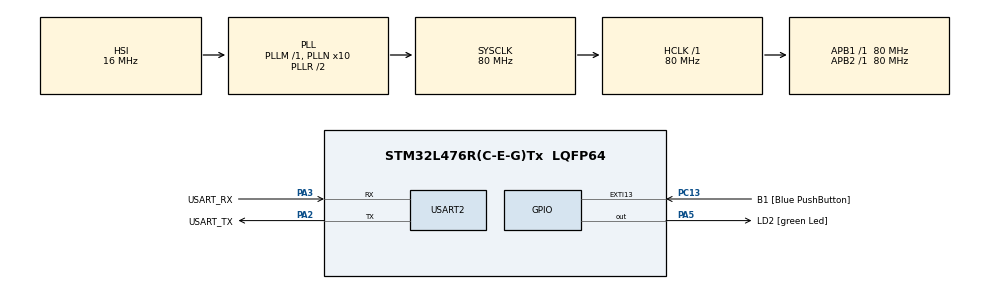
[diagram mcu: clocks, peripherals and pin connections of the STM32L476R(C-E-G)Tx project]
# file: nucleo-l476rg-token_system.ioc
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Mcu.Family=STM32L4
Mcu.Name=STM32L476R(C-E-G)Tx
Mcu.Package=LQFP64
NVIC.PriorityGroup=NVIC_PRIORITYGROUP_4
NVIC.USART2_IRQn=true\:0\:0\:false\:false\:true\:true\:true
PA13\ (JTMS-SWDIO).GPIO_Label=TMS
PA13\ (JTMS-SWDIO).Mode=Serial_Wire
PA13\ (JTMS-SWDIO).Signal=SYS_JTMS-SWDIO
PA14\ (JTCK-SWCLK).GPIO_Label=TCK
PA14\ (JTCK-SWCLK).Mode=Serial_Wire
PA14\ (JTCK-SWCLK).Signal=SYS_JTCK-SWCLK
PA2.GPIO_Label=USART_TX
PA2.GPIO_Mode=GPIO_MODE_AF_PP
PA2.GPIO_PuPd=GPIO_NOPULL
PA2.GPIO_Speed=GPIO_SPEED_FREQ_VERY_HIGH
PA2.Mode=Asynchronous
PA2.Signal=USART2_TX
PA3.GPIO_Label=USART_RX
PA3.GPIO_Mode=GPIO_MODE_AF_PP
PA3.GPIO_PuPd=GPIO_NOPULL
PA3.GPIO_Speed=GPIO_SPEED_FREQ_VERY_HIGH
PA3.Mode=Asynchronous
PA3.Signal=USART2_RX
PA5.GPIO_Label=LD2 [green Led]
PA5.GPIO_ModeDefaultOutputPP=GPIO_MODE_OUTPUT_PP
PA5.GPIO_PuPd=GPIO_NOPULL
PA5.GPIO_Speed=GPIO_SPEED_FREQ_LOW
PA5.Signal=GPIO_Output
PB3\ (JTDO-TRACESWO).GPIO_Label=SWO
PB3\ (JTDO-TRACESWO).Signal=SYS_JTDO-SWO
PC13.GPIO_Label=B1 [Blue PushButton]
PC13.GPIO_ModeDefaultEXTI=GPIO_MODE_IT_FALLING
PC13.GPIO_PuPd=GPIO_NOPULL
PC13.Signal=GPXTI13
PC14-OSC32_IN\ (PC14).Mode=LSE-External-Oscillator
PC14-OSC32_IN\ (PC14).Signal=RCC_OSC32_IN
PC15-OSC32_OUT\ (PC15).Mode=LSE-External-Oscillator
PC15-OSC32_OUT\ (PC15).Signal=RCC_OSC32_OUT
PH0-OSC_IN\ (PH0).Signal=RCC_OSC_IN
PH1-OSC_OUT\ (PH1).Signal=RCC_OSC_OUT
ProjectManager.HeapSize=0x200
ProjectManager.StackSize=0x400
ProjectManager.TargetToolchain=STM32CubeIDE
RCC.ADCFreq_Value=64000000
RCC.AHBFreq_Value=80000000
RCC.APB1Freq_Value=80000000
RCC.APB1TimFreq_Value=80000000
RCC.APB2Freq_Value=80000000
RCC.APB2TimFreq_Value=80000000
RCC.CortexFreq_Value=80000000
RCC.HCLKFreq_Value=80000000
RCC.HSE_VALUE=8000000
RCC.HSI_VALUE=16000000
RCC.MSI_VALUE=4000000
RCC.PLLN=10
RCC.PLLSourceVirtual=RCC_PLLSOURCE_HSI
RCC.PREFETCH_ENABLE=1
RCC.SYSCLKFreq_VALUE=80000000
RCC.SYSCLKSource=RCC_SYSCLKSOURCE_PLLCLK
RCC.USBFreq_Value=64000000
RCC.VCOOutputFreq_Value=160000000
USART2.VirtualMode-Asynchronous=VM_ASYNC
board=NUCLEO-L476RG

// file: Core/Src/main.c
/* USER CODE BEGIN Header */
/**
  ******************************************************************************
  * @file           : main.c
  * @brief          : Main program body
  ******************************************************************************
  * @attention
  *
  * <h2><center>&copy; Copyright (c) 2021 STMicroelectronics.
  * All rights reserved.</center></h2>
  *
  * This software component is licensed by ST under BSD 3-Clause license,
  * the "License"; You may not use this file except in compliance with the
  * License. You may obtain a copy of the License at:
  *                        opensource.org/licenses/BSD-3-Clause
  *
  ******************************************************************************
  */
/* USER CODE END Header */
#include "main.h"

/* USER CODE BEGIN Includes */
#include <string.h>
#include <stdio.h>
#include <stdbool.h>
/* USER CODE END Includes */

UART_HandleTypeDef huart2;

void SystemClock_Config(void);
static void MX_GPIO_Init(void);
static void MX_USART2_UART_Init(void);

/* USER CODE BEGIN 0 */
char safe_buff[30] = {0}; //Global variable that holds the completed command that was typed into the PuTTy terminal.
uint8_t rx_buff[100] = {0}; //Global variable that holds the command as it's being entered.
uint8_t rx_char[1] = {0}; //Global variable. Passed in the calling of the hal-uart-interrupt-function.
int rx_complete = 0; //Global variable that represents whether the command has been completed or not.
int rx_count = 0; //Integer variable. Only used in Nolan's function, so should be local?
/* USER CODE END 0 */

int main(void)
{
  /* USER CODE BEGIN 1 */
  char main_message_buffer[50] = {0}; //Reusable buffer to store messages to be printed to usart.
  //char commandTokenOne[5] = {0};
  //char commandTokenTwo[5] = {0};
  //char commandTokenThree[5] = {0};
  char commandArray[3][5]; //Holds the parsed command.
  char translatedCommandArray[30] = {0};
  /* USER CODE END 1 */

  /* MCU Configuration--------------------------------------------------------*/

  /* Reset of all peripherals, Initializes the Flash interface and the Systick. */
  HAL_Init();

  /* Configure the system clock */
  SystemClock_Config();

  /* Initialize all configured peripherals */
  MX_GPIO_Init();
  MX_USART2_UART_Init();
  /* USER CODE BEGIN 2 */
  snprintf((char*)main_message_buffer,sizeof(main_message_buffer),"\r\nGround node ready for use. You may begin typing commands.\r\n");
  HAL_UART_Transmit(&huart2, (uint8_t*)main_message_buffer, strlen(main_message_buffer), 200);

  /*
   * This is the initialization of PuTTy receiving a character. It tells PuTTy, "hey,..
   * receive the next character I'm about to type."
   */
  HAL_UART_Receive_IT(&huart2, rx_char, 1); //Start listening for interrupts.
  /* USER CODE END 2 */

  /* Infinite loop */
  /* USER CODE BEGIN WHILE */
  while (1)
  {
    if (rx_complete == 1) {

      //Notify the user that a command has been completed.
      snprintf((char*)main_message_buffer,sizeof(main_message_buffer),"\r\nA command has been completed.\r\n");
      HAL_UART_Transmit(&huart2, (uint8_t*)main_message_buffer, strlen(main_message_buffer), 200);

      //Display the complete command.
      snprintf((char*)main_message_buffer,sizeof(main_message_buffer),"Command: %s\r\n", safe_buff);
      HAL_UART_Transmit(&huart2, (uint8_t*)main_message_buffer, strlen(main_message_buffer), 200);

      //Clear the commandToken arrays
      //memset(&commandTokenOne, 0, strlen((char*)commandTokenOne));
      //memset(&commandTokenTwo, 0, strlen((char*)commandTokenTwo));
      //memset(&commandTokenThree, 0, strlen((char*)commandTokenThree));
      for (int i = 0; i < 3; i++) {
        memset(&commandArray[i], 0, strlen((char*)commandArray));
      }
      memset(&translatedCommandArray, 0, strlen((char*)translatedCommandArray));

      //Turning the raw data into tokens. Store these tokens in commandArray. Commands have a max of three tokens. Tokens have a max length of 10 characters -------------------------------------------------------
      const char s[2] = " ";
      char *token;
      /*Define where I'm getting tokens from*/
      token = strtok((char*)safe_buff, s);
      /* Walk through other tokens, store them to the subsequent positions of commandArray */
      int i = 0;
      while( token != NULL ) {
        //if (i == 1) {
        //  strcpy(commandTokenOne, token);
        //} else if (i == 2) {
        //  strcpy(commandTokenTwo, token);
        //} else if (i == 3) {
        //  strcpy(commandTokenThree, token);
        //}
        strcpy(commandArray[i], token);

        i++;
        /*Get the next token*/
        token = strtok(NULL, s);
      }

      //Display the contents of the tokens
      snprintf((char*)main_message_buffer,sizeof(main_message_buffer),"Token 1: %s\r\n", commandArray[0]);
      HAL_UART_Transmit(&huart2, (uint8_t*)main_message_buffer, strlen(main_message_buffer), 200);
      snprintf((char*)main_message_buffer,sizeof(main_message_buffer),"Token 2: %s\r\n", commandArray[1]);
      HAL_UART_Transmit(&huart2, (uint8_t*)main_message_buffer, strlen(main_message_buffer), 200);
      snprintf((char*)main_message_buffer,sizeof(main_message_buffer),"Token 3: %s\r\n", commandArray[2]);
      HAL_UART_Transmit(&huart2, (uint8_t*)main_message_buffer, strlen(main_message_buffer), 200);

      if (strcmp(commandArray[0], "led") == 0) {

    	  strcat(translatedCommandArray, "0");

    	  if (strcmp(commandArray[1], "on") == 0) {
    		  strcat(translatedCommandArray, "0");
    	  } else if (strcmp(commandArray[1], "off") == 0) {
    		  strcat(translatedCommandArray, "1");
    	  }
      }

      snprintf((char*)main_message_buffer,sizeof(main_message_buffer),"translatedCommandArray: %s\r\n\r\n", translatedCommandArray);
      HAL_UART_Transmit(&huart2, (uint8_t*)main_message_buffer, strlen(main_message_buffer), 200);

      rx_complete = 0;
    }

    /* USER CODE END WHILE */

  }
}

void SystemClock_Config(void)
{
  RCC_OscInitTypeDef RCC_OscInitStruct = {0};
  RCC_ClkInitTypeDef RCC_ClkInitStruct = {0};

  /** Configure the main internal regulator output voltage
  */
  if (HAL_PWREx_ControlVoltageScaling(PWR_REGULATOR_VOLTAGE_SCALE1) != HAL_OK)
  {
    Error_Handler();
  }
  /** Initializes the RCC Oscillators according to the specified parameters
  * in the RCC_OscInitTypeDef structure.
  */
  RCC_OscInitStruct.OscillatorType = RCC_OSCILLATORTYPE_HSI;
  RCC_OscInitStruct.HSIState = RCC_HSI_ON;
  RCC_OscInitStruct.HSICalibrationValue = RCC_HSICALIBRATION_DEFAULT;
  RCC_OscInitStruct.PLL.PLLState = RCC_PLL_ON;
  RCC_OscInitStruct.PLL.PLLSource = RCC_PLLSOURCE_HSI;
  RCC_OscInitStruct.PLL.PLLM = 1;
  RCC_OscInitStruct.PLL.PLLN = 10;
  RCC_OscInitStruct.PLL.PLLP = RCC_PLLP_DIV7;
  RCC_OscInitStruct.PLL.PLLQ = RCC_PLLQ_DIV2;
  RCC_OscInitStruct.PLL.PLLR = RCC_PLLR_DIV2;
  if (HAL_RCC_OscConfig(&RCC_OscInitStruct) != HAL_OK)
  {
    Error_Handler();
  }
  /** Initializes the CPU, AHB and APB buses clocks
  */
  RCC_ClkInitStruct.ClockType = RCC_CLOCKTYPE_HCLK|RCC_CLOCKTYPE_SYSCLK
                              |RCC_CLOCKTYPE_PCLK1|RCC_CLOCKTYPE_PCLK2;
  RCC_ClkInitStruct.SYSCLKSource = RCC_SYSCLKSOURCE_PLLCLK;
  RCC_ClkInitStruct.AHBCLKDivider = RCC_SYSCLK_DIV1;
  RCC_ClkInitStruct.APB1CLKDivider = RCC_HCLK_DIV1;
  RCC_ClkInitStruct.APB2CLKDivider = RCC_HCLK_DIV1;

  if (HAL_RCC_ClockConfig(&RCC_ClkInitStruct, FLASH_LATENCY_4) != HAL_OK)
  {
    Error_Handler();
  }
}

static void MX_USART2_UART_Init(void)
{

  huart2.Instance = USART2;
  huart2.Init.BaudRate = 115200;
  huart2.Init.WordLength = UART_WORDLENGTH_8B;
  huart2.Init.StopBits = UART_STOPBITS_1;
  huart2.Init.Parity = UART_PARITY_NONE;
  huart2.Init.Mode = UART_MODE_TX_RX;
  huart2.Init.HwFlowCtl = UART_HWCONTROL_NONE;
  huart2.Init.OverSampling = UART_OVERSAMPLING_16;
  huart2.Init.OneBitSampling = UART_ONE_BIT_SAMPLE_DISABLE;
  huart2.AdvancedInit.AdvFeatureInit = UART_ADVFEATURE_NO_INIT;
  if (HAL_UART_Init(&huart2) != HAL_OK)
  {
    Error_Handler();
  }

}

static void MX_GPIO_Init(void)
{
  GPIO_InitTypeDef GPIO_InitStruct = {0};

  /* GPIO Ports Clock Enable */
  __HAL_RCC_GPIOC_CLK_ENABLE();
  __HAL_RCC_GPIOH_CLK_ENABLE();
  __HAL_RCC_GPIOA_CLK_ENABLE();
  __HAL_RCC_GPIOB_CLK_ENABLE();

  /*Configure GPIO pin Output Level */
  HAL_GPIO_WritePin(LD2_GPIO_Port, LD2_Pin, GPIO_PIN_RESET);

  /*Configure GPIO pin : B1_Pin */
  GPIO_InitStruct.Pin = B1_Pin;
  GPIO_InitStruct.Mode = GPIO_MODE_IT_FALLING;
  GPIO_InitStruct.Pull = GPIO_NOPULL;
  HAL_GPIO_Init(B1_GPIO_Port, &GPIO_InitStruct);

  /*Configure GPIO pin : LD2_Pin */
  GPIO_InitStruct.Pin = LD2_Pin;
  GPIO_InitStruct.Mode = GPIO_MODE_OUTPUT_PP;
  GPIO_InitStruct.Pull = GPIO_NOPULL;
  GPIO_InitStruct.Speed = GPIO_SPEED_FREQ_LOW;
  HAL_GPIO_Init(LD2_GPIO_Port, &GPIO_InitStruct);

}

/* USER CODE BEGIN 4 */
void HAL_UART_RxCpltCallback(UART_HandleTypeDef *huart)
{
    if (huart->Instance == huart2.Instance)
        {
            switch (*rx_char)
            {
                // if we receive a carriage return, newline, or null terminator, then we have received a complete command
                case '\r':
                case '\n':
                case '\0':
                {
                  strcpy((char*)safe_buff, (char*)rx_buff);

                    memset(rx_buff, 0, sizeof(rx_buff));
                    rx_count = 0;

                    rx_complete = 1;

                    break;
                }
                /*
                 * FIXME: When user back spaces, the data may reflect that the user backspaced, but when the user sends the command,
                 * the command comes back as unrecognized. Probably because there is some interfering data being left into the incoming_command buffer.
                 *
                 * To replicate error: type in a command, hit back space, then fill out the rest of the command, then hit enter. You will get an unrecognized command error
                 * even though you typed it in correctly.
                 */
                // if we have received a backspace character, then delete the last received character
                case '\b':
                {
                    // set current buffer position to 0; if we are not already at index 0 then move back one index and set that value to 0 as well
                    if (rx_count)
                    {
                        rx_buff[rx_count] = 0;
                        rx_count --;
                    }
                    rx_buff[rx_count] = 0;

                    break;
                }

                // we have received some other character, store it to the array
                default:
                {
                    rx_buff[rx_count] = *rx_char;
                    rx_count ++;
                    uint8_t show_input[50];
                    strcpy ( (char*)show_input, (char*)rx_char);
                    HAL_UART_Transmit(&huart2, show_input, strlen((char*)show_input),1000);
                    break;
                }
            }

            *rx_char = 0; //In the switch statement, one of the cases is a 0, so I assume this is necessary.

            /*
             * Leave the following line in the function. If I remove it, the user will only
             * be able to call a single interrupt, thus only be able to type a single
             * character into putty.
             */
            HAL_UART_Receive_IT(&huart2, rx_char, 1);
        }
}
/* USER CODE END 4 */

void Error_Handler(void)
{
  __disable_irq();
  while (1)
  {
  }
}

/************************ (C) COPYRIGHT STMicroelectronics *****END OF FILE****/
